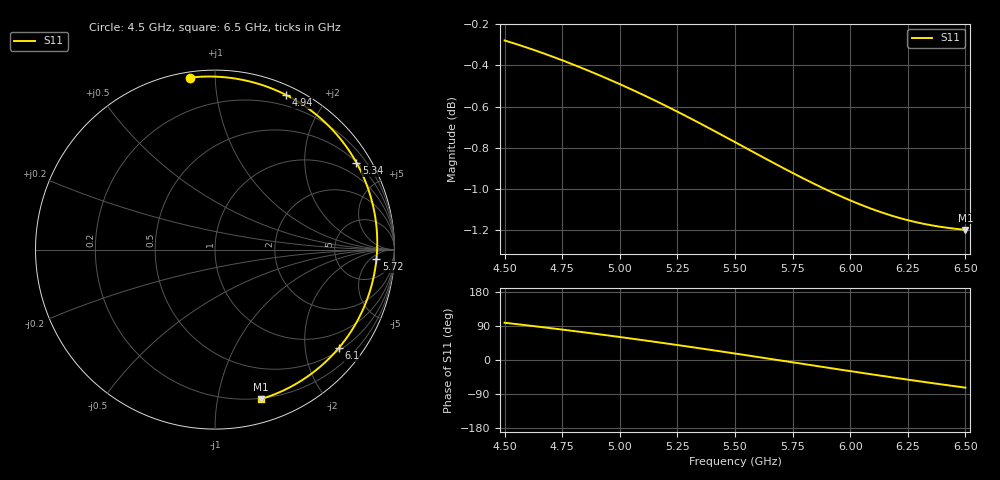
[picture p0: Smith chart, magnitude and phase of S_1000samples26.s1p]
! TOUCHSTONE file generated by CST MICROWAVE STUDIO
! Date and time: Wed Oct 26 17:53:14 2022
! Project name: L.cst
! Parameters = {Di=1.27; Epsilon_r=1.56; InnerDiameter=1.27; Length=2; Lf=10; Lg=60; OuterConductorThickness=0.2921; OuterDiameter=3.6; Wf=3; Wp=41.2; de=1.5; df=6.8; g=0.8; gx=3.94075; gy=4.76701; h=2.34; hf=1.524; px=9.11235; py=10.2135; w=9.7; wx=5.1716; wy=5.44646}
! Header version: 2018
! Port assignment regex: !\s*Touchstone port\s*([0-9]+)\s*=\s*(CST MWS port|CST DS port)\s*([0-9]+|Zmin|Zmax)\s*\(\"(.*)\"\)(\s*mode\s*([0-9]+))?.*
! Touchstone port assignment:
! Touchstone port 1 = CST MWS port 1 ("")
# GHz S DB R 50
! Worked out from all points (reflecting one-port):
!   101 points, 4.5 GHz to 6.5 GHz, reference 50 ohm
!   lowest |S11| = -1.2 dB at 6.5 GHz (marker M1), VSWR 14.51, Z = 9.66 - j66.7 ohm
!   phase of S11 starts at 98 deg and turns -171 deg over the sweep
!   S11 on the Smith chart (normalised r, x): 4.5 GHz: 0.03, +0.86; 4.94 GHz: 0.09, +1.55; 5.34 GHz: 0.52, +3.47; 5.72 GHz: 15, -8; 6.1 GHz: 0.57, -2.77; 6.5 GHz: 0.19, -1.33
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4.5  -0.28 98.3
4.58  -0.31 92.7
4.64  -0.33 88.4
4.76  -0.38 79.5
4.86  -0.42 71.8
4.94  -0.46 65.5
5  -0.49 60.6
5.12  -0.55 50.7
5.18  -0.59 45.6
5.26  -0.63 38.6
5.34  -0.68 31.5
5.42  -0.72 24.4
5.5  -0.77 17.1
5.56  -0.81 11.5
5.62  -0.85 6.0
5.72  -0.91 -3.3
5.76  -0.93 -7.1
5.82  -0.96 -12.6
5.88  -1.00 -18.2
5.94  -1.03 -23.8
6  -1.06 -29.3
6.1  -1.10 -38.4
6.18  -1.13 -45.6
6.26  -1.16 -52.7
6.32  -1.17 -57.9
6.38  -1.18 -63.0
6.44  -1.19 -68.0
6.5  -1.20 -73.0
